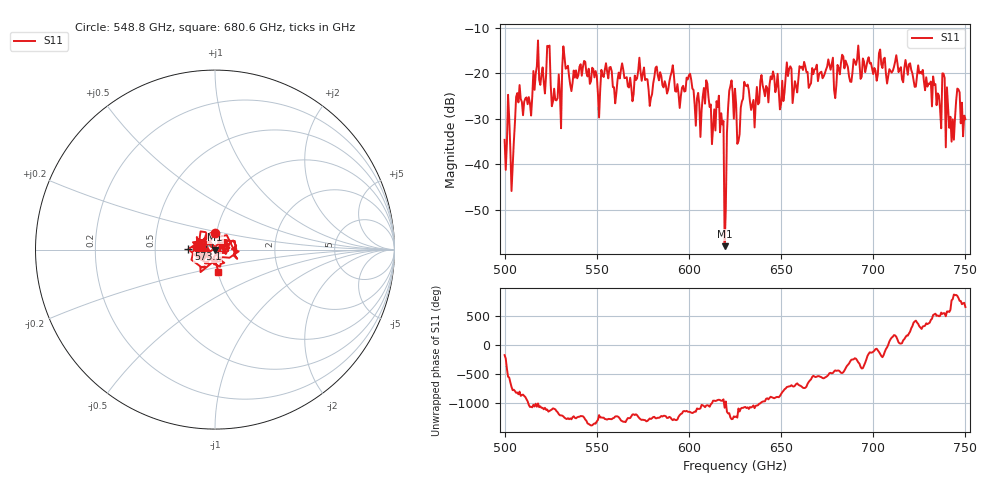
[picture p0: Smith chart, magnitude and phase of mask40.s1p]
!Created with skrf (http://scikit-rf.org).
# GHz S MA R 50.0
!freq magS11 angS11
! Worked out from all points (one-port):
!   401 points, 500 GHz to 750 GHz, reference 50 ohm
!   lowest |S11| = -58.0 dB at 619.4 GHz (marker M1), VSWR 1.00, Z = 50.1 - j0.00345 ohm
!   |S11| at or under -10 dB: start of sweep to end of sweep
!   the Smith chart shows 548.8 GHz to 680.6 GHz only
!   S11 on the Smith chart (normalised r, x): 548.8 GHz: 0.99, +0.18; 573.1 GHz: 0.74, +0.00; 680.6 GHz: 1.01, -0.25
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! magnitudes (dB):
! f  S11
! 500 GHz  -34.6
! 504.4 GHz  -40.4
! 507.5 GHz  -26.4
! 513.8 GHz  -26.6
! 516.9 GHz  -20.0
! 523.8 GHz  -14.1
! 526.9 GHz  -23.4
! 531.2 GHz  -18.7
! 548.8 GHz  -20.9
! 562.5 GHz  -21.1
! 573.1 GHz  -16.5
! 593.8 GHz  -22.3
! 600 GHz  -20.4
! 605 GHz  -24.3
! 608.8 GHz  -26.6
! 613.1 GHz  -31.9
! 616.2 GHz  -24.9
! 619.4 GHz  -58.0
! 620.6 GHz  -33.1
! 622.5 GHz  -22.8
! 625 GHz  -23.4
! 656.2 GHz  -26.5
! 680.6 GHz  -18.1
! 687.5 GHz  -21.8
! 718.8 GHz  -20.3
! 742.5 GHz  -35.0
! 745.6 GHz  -23.3
! 750 GHz  -30.1
